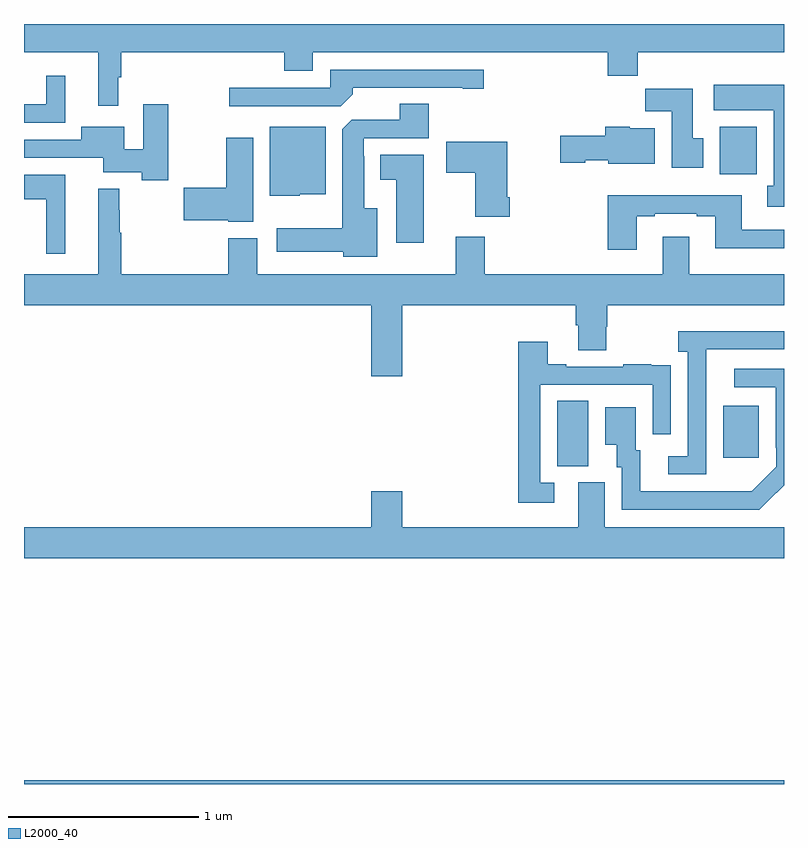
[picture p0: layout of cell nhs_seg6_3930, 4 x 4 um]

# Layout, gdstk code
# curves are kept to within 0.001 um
import gdstk
lib = gdstk.Library(unit=1e-6, precision=1e-09)
def R(c, l, rs):  # rectangles x0, y0, x1, y1
    for r in rs: c.add(gdstk.rectangle(r[:2], r[2:], *l))
def P(c, l, *ps):  # polygons
    for p in ps: c.add(gdstk.Polygon(p, *l))
L2000_40 = (2000, 40)

nhs_seg6_3930 = lib.new_cell('nhs_seg6_3930')
R(nhs_seg6_3930, L2000_40, [(343,927.5,347,927.52), (345.806,929.173,345.97,929.516), (346.679,929.217,346.867,929.491), (346.661,930.708,346.857,930.958)])
P(nhs_seg6_3930, L2000_40, [(346.229,931.352),(347,931.352),(347,931.5),(343,931.5),(343,931.352),(343.391,931.352),(343.391,931.071),(343.495,931.071),(343.495,931.22),(343.513,931.22),(343.513,931.352),(344.369,931.352),(344.369,931.253),(344.521,931.253),(344.521,931.352),(346.073,931.352),(346.073,931.228),(346.229,931.228)],
  [(344.729,931.13),(344.729,931.164),(345.308,931.164),(345.308,931.159),(345.421,931.159),(345.421,931.26),(344.613,931.26),(344.613,931.164),(344.079,931.164),(344.079,931.068),(344.667,931.068)],
  [(343.216,931.228),(343.118,931.228),(343.118,931.077),(343,931.077),(343,930.981),(343.216,930.981)],
  [(347,931.18),(346.629,931.18),(346.629,931.046),(346.946,931.046),(346.946,930.649),(346.913,930.649),(346.913,930.537),(347,930.537)],
  [(346.576,930.9),(346.519,930.9),(346.519,931.159),(346.27,931.159),(346.27,931.04),(346.409,931.04),(346.409,930.744),(346.576,930.744)],
  [(344.86,930.529),(344.791,930.529),(344.791,930.803),(344.787,930.803),(344.787,930.9),(345.131,930.9),(345.131,931.079),(344.978,931.079),(344.978,930.996),(344.724,930.996),(344.675,930.947),(344.675,930.424),(344.331,930.424),(344.331,930.302),(344.679,930.302),(344.679,930.275),(344.86,930.275)],
  [(343.758,931.078),(343.628,931.078),(343.628,930.842),(343.528,930.842),(343.528,930.958),(343.301,930.958),(343.301,930.891),(343,930.891),(343,930.795),(343.418,930.795),(343.418,930.719),(343.621,930.719),(343.621,930.677),(343.758,930.677)],
  [(344.451,930.605),(344.587,930.605),(344.587,930.958),(344.294,930.958),(344.294,930.596),(344.451,930.596)],
  [(346.321,930.952),(346.188,930.952),(346.188,930.958),(346.058,930.958),(346.058,930.912),(345.822,930.912),(345.822,930.77),(345.954,930.77),(345.954,930.782),(346.074,930.782),(346.074,930.764),(346.321,930.764)],
  [(344.206,930.901),(344.065,930.901),(344.065,930.638),(343.842,930.638),(343.842,930.467),(344.076,930.467),(344.076,930.458),(344.206,930.458)],
  [(345.557,930.589),(345.544,930.589),(345.544,930.88),(345.222,930.88),(345.222,930.718),(345.374,930.718),(345.374,930.485),(345.557,930.485)],
  [(345.103,930.811),(344.876,930.811),(344.876,930.68),(344.96,930.68),(344.96,930.348),(345.103,930.348)],
  [(343.216,930.706),(343,930.706),(343,930.578),(343.118,930.578),(343.118,930.291),(343.216,930.291)],
  [(344.992,930.02),(345.905,930.02),(345.905,929.914),(345.917,929.914),(345.917,929.782),(346.065,929.782),(346.065,929.907),(346.07,929.907),(346.07,930.02),(347,930.02),(347,930.184),(346.501,930.184),(346.501,930.379),(346.361,930.379),(346.361,930.184),(345.425,930.184),(345.425,930.379),(345.272,930.379),(345.272,930.184),(344.227,930.184),(344.227,930.373),(344.075,930.373),(344.075,930.184),(343.513,930.184),(343.513,930.401),(343.505,930.401),(343.505,930.521),(343.501,930.521),(343.501,930.634),(343.391,930.634),(343.391,930.184),(343,930.184),(343,930.02),(344.828,930.02),(344.828,929.646),(344.992,929.646)],
  [(346.225,930.489),(346.321,930.489),(346.321,930.501),(346.541,930.501),(346.541,930.489),(346.637,930.489),(346.637,930.32),(347,930.32),(347,930.417),(346.777,930.417),(346.777,930.598),(346.073,930.598),(346.073,930.312),(346.225,930.312)],
  [(346.59,929.587),(346.591,929.587),(346.591,929.787),(347,929.787),(347,929.884),(346.443,929.884),(346.443,929.774),(346.494,929.774),(346.494,929.226),(346.392,929.226),(346.392,929.13),(346.59,929.13)],
  [(345.79,929.085),(345.717,929.085),(345.717,929.601),(346.308,929.601),(346.308,929.34),(346.404,929.34),(346.404,929.594),(346.403,929.594),(346.403,929.703),(346.301,929.703),(346.301,929.71),(346.153,929.71),(346.153,929.697),(345.853,929.697),(345.853,929.71),(345.757,929.71),(345.757,929.827),(345.601,929.827),(345.601,928.98),(345.79,928.98)],
  [(346.961,929.035),(346.962,929.034),(347,929.072),(347,929.685),(346.737,929.685),(346.737,929.589),(346.956,929.589),(346.956,929.269),(346.959,929.269),(346.959,929.169),(346.831,929.041),(346.243,929.04),(346.243,929.256),(346.219,929.256),(346.219,929.482),(346.058,929.482),(346.058,929.285),(346.121,929.285),(346.121,929.166),(346.146,929.166),(346.146,928.944),(346.87,928.944)],
  [(347,928.852),(346.057,928.852),(346.057,929.088),(345.917,929.088),(345.917,928.852),(344.992,928.852),(344.992,929.041),(344.828,929.041),(344.828,928.852),(343,928.852),(343,928.688),(347,928.688)])

lib.write_gds('nhs_seg6_3930.gds')
